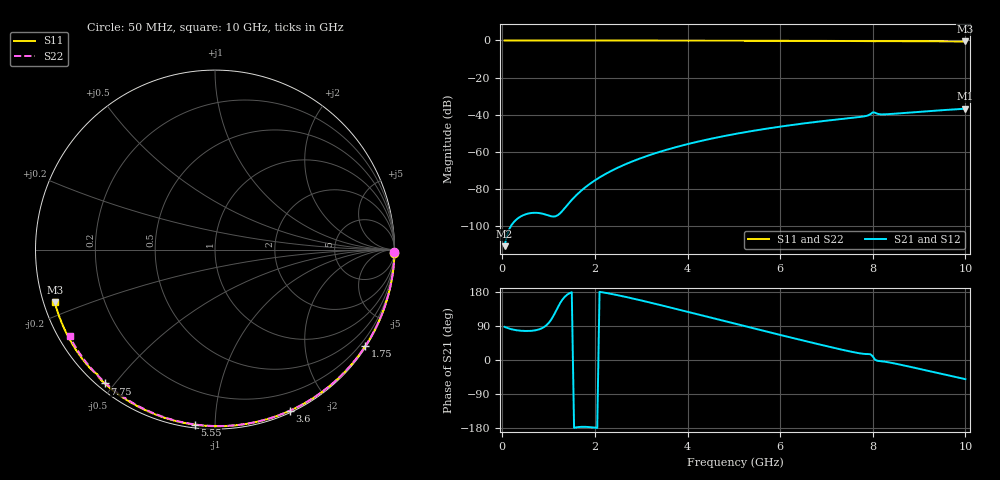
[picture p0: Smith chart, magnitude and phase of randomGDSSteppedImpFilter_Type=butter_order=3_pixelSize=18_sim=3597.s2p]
! freq	dB(S11)	phase(S11)	dB(S12)	phase(S12)
!  dB(S21)	phase(S21)	dB(S22)	phase(S22)
!S-par simulation data
#  GHz  S  DB  R 50
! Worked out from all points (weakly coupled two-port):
!   200 points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, 50 MHz to 10 GHz, reference 50 ohm
!   highest |S21| = -36.83 dB at 10 GHz (marker M1); lowest = -111.0 dB at 50 MHz (marker M2)
!   lowest |S11| = -0.5 dB at 10 GHz (marker M3), VSWR 32.13, Z = 1.6 - j7.93 ohm
!   |S11| at or under -10 dB: nowhere
!   |S22| runs from -0.5 to 0.0 dB; largest |S21 - S12| = 0
!   S11 on the Smith chart (normalised r, x): 50 MHz: open; 1.75 GHz: 0.03, -3.41; 3.6 GHz: 0.02, -1.56; 5.55 GHz: 0.02, -0.89; 7.75 GHz: 0.02, -0.47; 10 GHz: 0.03, -0.16
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0.05  -0.00 -1.0  -111.03 87.4  -111.03 87.4  -0.00 -0.9
0.85  -0.02 -16.0  -93.39 83.5  -93.39 83.5  -0.02 -14.6
1.3  -0.03 -24.4  -91.90 159.7  -91.90 159.7  -0.03 -22.2
1.75  -0.04 -32.7  -80.11 -176.3  -80.11 -176.3  -0.04 -29.7
1.95  -0.05 -36.3  -76.35 -177.8  -76.35 -177.8  -0.04 -33.0
2.1  -0.05 -39.0  -73.93 179.8  -73.93 179.8  -0.05 -35.5
2.45  -0.06 -45.3  -69.20 172.1  -69.20 172.1  -0.05 -41.2
2.9  -0.07 -53.2  -64.39 160.0  -64.39 160.0  -0.06 -48.5
3.4  -0.08 -61.8  -60.10 145.4  -60.10 145.4  -0.07 -56.4
3.6  -0.09 -65.2  -58.62 139.4  -58.62 139.4  -0.08 -59.5
4.3  -0.11 -76.8  -54.17 118.0  -54.17 118.0  -0.10 -70.3
5.05  -0.14 -88.9  -50.36 95.0  -50.36 95.0  -0.13 -81.4
5.55  -0.16 -96.7  -48.23 79.8  -48.23 79.8  -0.15 -88.7
6.1  -0.19 -105.1  -46.16 63.2  -46.16 63.2  -0.17 -96.5
6.7  -0.22 -114.0  -44.19 45.4  -44.19 45.4  -0.20 -104.9
7.75  -0.30 -129.5  -41.20 17.1  -41.20 17.1  -0.28 -119.1
7.9  -0.32 -131.8  -40.42 15.7  -40.42 15.7  -0.29 -121.1
8  -0.40 -133.2  -38.79 9.5  -38.79 9.5  -0.30 -122.4
8.15  -0.36 -135.0  -39.83 -2.8  -39.83 -2.8  -0.31 -124.5
8.35  -0.36 -137.9  -39.75 -6.2  -39.75 -6.2  -0.33 -127.1
9.2  -0.44 -150.2  -38.16 -28.7  -38.16 -28.7  -0.41 -138.4
10  -0.54 -162.0  -36.83 -50.6  -36.83 -50.6  -0.50 -149.1
